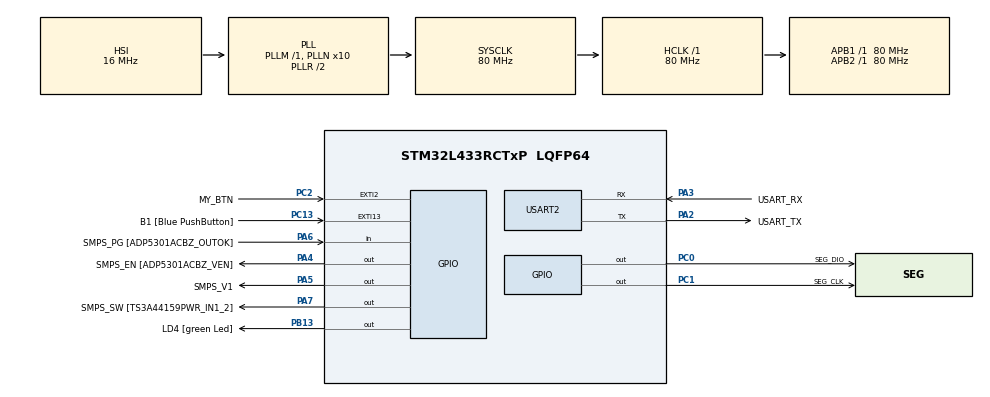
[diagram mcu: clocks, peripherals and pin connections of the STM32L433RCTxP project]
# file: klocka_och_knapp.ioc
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Mcu.Family=STM32L4
Mcu.Name=STM32L433RCTxP
Mcu.Package=LQFP64
NVIC.EXTI2_IRQn=true\:0\:0\:false\:false\:true\:true\:true\:true
NVIC.PriorityGroup=NVIC_PRIORITYGROUP_4
NVIC.TIM7_IRQn=true\:0\:0\:false\:false\:true\:true\:true\:true
PA13\ (JTMS-SWDIO).GPIO_Label=TMS
PA13\ (JTMS-SWDIO).Mode=Serial_Wire
PA13\ (JTMS-SWDIO).Signal=SYS_JTMS-SWDIO
PA14\ (JTCK-SWCLK).GPIO_Label=TCK
PA14\ (JTCK-SWCLK).Mode=Serial_Wire
PA14\ (JTCK-SWCLK).Signal=SYS_JTCK-SWCLK
PA2.GPIO_Label=USART_TX
PA2.GPIO_Mode=GPIO_MODE_AF_PP
PA2.GPIO_PuPd=GPIO_NOPULL
PA2.GPIO_Speed=GPIO_SPEED_FREQ_VERY_HIGH
PA2.Mode=Asynchronous
PA2.Signal=USART2_TX
PA3.GPIO_Label=USART_RX
PA3.GPIO_Mode=GPIO_MODE_AF_PP
PA3.GPIO_PuPd=GPIO_NOPULL
PA3.GPIO_Speed=GPIO_SPEED_FREQ_VERY_HIGH
PA3.Mode=Asynchronous
PA3.Signal=USART2_RX
PA4.GPIO_Label=SMPS_EN [ADP5301ACBZ_VEN]
PA4.Signal=GPIO_Output
PA5.GPIO_Label=SMPS_V1
PA5.GPIO_ModeDefaultOutputPP=GPIO_MODE_OUTPUT_PP
PA5.GPIO_PuPd=GPIO_NOPULL
PA5.GPIO_Speed=GPIO_SPEED_FREQ_LOW
PA5.Signal=GPIO_Output
PA6.GPIO_Label=SMPS_PG [ADP5301ACBZ_OUTOK]
PA6.GPIO_PuPd=GPIO_PULLUP
PA6.Signal=GPIO_Input
PA7.GPIO_Label=SMPS_SW [TS3A44159PWR_IN1_2]
PA7.Signal=GPIO_Output
PB13.GPIO_Label=LD4 [green Led]
PB13.Signal=GPIO_Output
PB3\ (JTDO-TRACESWO).GPIO_Label=SWO
PB3\ (JTDO-TRACESWO).Signal=SYS_JTDO-SWO
PC0.GPIO_Label=SEG_DIO
PC0.GPIO_ModeDefaultOutputPP=GPIO_MODE_OUTPUT_OD
PC0.GPIO_PuPd=GPIO_NOPULL
PC0.Signal=GPIO_Output
PC1.GPIO_Label=SEG_CLK
PC1.Signal=GPIO_Output
PC13.GPIO_Label=B1 [Blue PushButton]
PC13.GPIO_ModeDefaultEXTI=GPIO_MODE_IT_FALLING
PC13.GPIO_PuPd=GPIO_NOPULL
PC13.Signal=GPXTI13
PC14-OSC32_IN\ (PC14).Mode=LSE-External-Oscillator
PC14-OSC32_IN\ (PC14).Signal=RCC_OSC32_IN
PC15-OSC32_OUT\ (PC15).Mode=LSE-External-Oscillator
PC15-OSC32_OUT\ (PC15).Signal=RCC_OSC32_OUT
PC2.GPIO_Label=MY_BTN
PC2.GPIO_ModeDefaultEXTI=GPIO_MODE_IT_FALLING
PC2.Signal=GPXTI2
PH0-OSC_IN\ (PH0).GPIO_Label=MCO
PH0-OSC_IN\ (PH0).Mode=HSE-External-Clock-Source
PH0-OSC_IN\ (PH0).Signal=RCC_OSC_IN
PH1-OSC_OUT\ (PH1).Signal=RCC_OSC_OUT
ProjectManager.HeapSize=0x200
ProjectManager.StackSize=0x400
ProjectManager.TargetToolchain=STM32CubeIDE
RCC.ADCFreq_Value=64000000
RCC.AHBFreq_Value=80000000
RCC.APB1Freq_Value=80000000
RCC.APB1TimFreq_Value=80000000
RCC.APB2Freq_Value=80000000
RCC.APB2TimFreq_Value=80000000
RCC.CortexFreq_Value=80000000
RCC.HCLKFreq_Value=80000000
RCC.HSE_VALUE=8000000
RCC.HSI48_VALUE=48000000
RCC.HSI_VALUE=16000000
RCC.MSI_VALUE=4000000
RCC.PLLN=10
RCC.PLLSourceVirtual=RCC_PLLSOURCE_HSI
RCC.PREFETCH_ENABLE=1
RCC.SYSCLKFreq_VALUE=80000000
RCC.SYSCLKSource=RCC_SYSCLKSOURCE_PLLCLK
RCC.USBFreq_Value=64000000
RCC.VCOOutputFreq_Value=160000000
TIM7.Period=999
TIM7.Prescaler=39999
USART2.VirtualMode-Asynchronous=VM_ASYNC
VP_TIM7_VS_ClockSourceINT.Mode=Enable_Timer
board=NUCLEO-L433RC-P

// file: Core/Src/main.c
/* USER CODE BEGIN Header */
/**
  ******************************************************************************
  * @file           : main.c
  * @brief          : Main program body
  ******************************************************************************
  * @attention
  *
  * Copyright (c) 2026 STMicroelectronics.
  * All rights reserved.
  *
  * This software is licensed under terms that can be found in the LICENSE file
  * in the root directory of this software component.
  * If no LICENSE file comes with this software, it is provided AS-IS.
  *
  ******************************************************************************
  */
/* USER CODE END Header */
#include "main.h"

/* USER CODE BEGIN Includes */
#include "quad_sseg.h"
#include <string.h>
#include <stdio.h>

/* USER CODE END Includes */

/* USER CODE BEGIN PD */

#define BOUNCE_DELAY_MS 12

/* USER CODE END PD */

TIM_HandleTypeDef htim7;

UART_HandleTypeDef huart2;

/* USER CODE BEGIN PV */

uint16_t button_exti_count;
uint16_t button_debounced_count;
uint32_t last_flank_causing_exti;

uint8_t hours;
uint8_t minutes;
uint8_t seconds;
uint8_t half_second;

/* USER CODE END PV */

void SystemClock_Config(void);
static void MX_GPIO_Init(void);
static void MX_USART2_UART_Init(void);
static void MX_TIM7_Init(void);

/* USER CODE BEGIN 0 */

void uart_print_menu()
{
	char menu[] =
			"\r\n--- MENU ---\r\n"
			"1. Clock mode\r\n"
			"2. Button mode\r\n"
			"Choose: ";

	HAL_UART_Transmit(&huart2, (uint8_t *)menu, strlen(menu), HAL_MAX_DELAY);

}

int uart_get_menu_choice()
{
	char str[1] = {'\0'};
	uint16_t str_len = 1;

	HAL_UART_Receive(&huart2, (uint8_t *)str, str_len, HAL_MAX_DELAY);

	int ret = -1;
	sscanf(str, "%d", &ret);

	return ret;
}

void uart_print_bad_choice()
{
	char msg[] = "\r\nInvalid choice. Try again.\r\n";

	HAL_UART_Transmit(&huart2, (uint8_t *)msg, strlen(msg), HAL_MAX_DELAY);
}

void clock_mode()
{
	int b1_pressed;
	hours = 23;
	minutes = 59;
	seconds = 45;
	HAL_TIM_Base_Start_IT(&htim7);

	while (1)
	{
		b1_pressed = GPIO_PIN_SET
				== HAL_GPIO_ReadPin(B1_GPIO_Port, B1_Pin);

		if (b1_pressed)
		{
			qs_put_digits(hours / 10, hours % 10,
					      minutes / 10, minutes % 10,
						  half_second);
		}
		else
		{
			qs_put_digits(minutes / 10, minutes % 10,
					      seconds / 10, seconds % 10,
						  half_second);
		}

	}
}

void button_mode()
{
	int b1_pressed;
	uint32_t last_managed_exti = 0;
	uint32_t now;

	while(1)
	{
		now = HAL_GetTick();
		if ((now - last_flank_causing_exti) >= BOUNCE_DELAY_MS
				&& last_flank_causing_exti != last_managed_exti)
		{
			int pressed = GPIO_PIN_RESET
					== HAL_GPIO_ReadPin(MY_BTN_GPIO_Port, MY_BTN_Pin);

			if (pressed)
			{
				button_debounced_count++;
			}

			last_managed_exti = last_flank_causing_exti;
		}

		b1_pressed = GPIO_PIN_SET
				== HAL_GPIO_ReadPin(B1_GPIO_Port, B1_Pin);

		qs_put_big_num(b1_pressed ? button_exti_count
				                  : button_debounced_count);

	}
}

/* USER CODE END 0 */

int main(void)
{

  /* MCU Configuration--------------------------------------------------------*/

  /* Reset of all peripherals, Initializes the Flash interface and the Systick. */
  HAL_Init();

  /* Configure the system clock */
  SystemClock_Config();

  /* Initialize all configured peripherals */
  MX_GPIO_Init();
  MX_USART2_UART_Init();
  MX_TIM7_Init();

  /* Infinite loop */
  while (1)
  {

    /* USER CODE BEGIN 3 */

	  uart_print_menu();
	  int menu_choice = uart_get_menu_choice();

	  switch(menu_choice)
	  {
	      case 1:
	    	  clock_mode();
	    	  break;

	      case 2:
	    	  button_mode();
			  break;

	      default:
	    	  uart_print_bad_choice();
	    	  break;
	  }
  }
  /* USER CODE END 3 */
}

void SystemClock_Config(void)
{
  RCC_OscInitTypeDef RCC_OscInitStruct = {0};
  RCC_ClkInitTypeDef RCC_ClkInitStruct = {0};

  /** Configure the main internal regulator output voltage
  */
  if (HAL_PWREx_ControlVoltageScaling(PWR_REGULATOR_VOLTAGE_SCALE1) != HAL_OK)
  {
    Error_Handler();
  }

  /** Initializes the RCC Oscillators according to the specified parameters
  * in the RCC_OscInitTypeDef structure.
  */
  RCC_OscInitStruct.OscillatorType = RCC_OSCILLATORTYPE_HSI;
  RCC_OscInitStruct.HSIState = RCC_HSI_ON;
  RCC_OscInitStruct.HSICalibrationValue = RCC_HSICALIBRATION_DEFAULT;
  RCC_OscInitStruct.PLL.PLLState = RCC_PLL_ON;
  RCC_OscInitStruct.PLL.PLLSource = RCC_PLLSOURCE_HSI;
  RCC_OscInitStruct.PLL.PLLM = 1;
  RCC_OscInitStruct.PLL.PLLN = 10;
  RCC_OscInitStruct.PLL.PLLP = RCC_PLLP_DIV7;
  RCC_OscInitStruct.PLL.PLLQ = RCC_PLLQ_DIV2;
  RCC_OscInitStruct.PLL.PLLR = RCC_PLLR_DIV2;
  if (HAL_RCC_OscConfig(&RCC_OscInitStruct) != HAL_OK)
  {
    Error_Handler();
  }

  /** Initializes the CPU, AHB and APB buses clocks
  */
  RCC_ClkInitStruct.ClockType = RCC_CLOCKTYPE_HCLK|RCC_CLOCKTYPE_SYSCLK
                              |RCC_CLOCKTYPE_PCLK1|RCC_CLOCKTYPE_PCLK2;
  RCC_ClkInitStruct.SYSCLKSource = RCC_SYSCLKSOURCE_PLLCLK;
  RCC_ClkInitStruct.AHBCLKDivider = RCC_SYSCLK_DIV1;
  RCC_ClkInitStruct.APB1CLKDivider = RCC_HCLK_DIV1;
  RCC_ClkInitStruct.APB2CLKDivider = RCC_HCLK_DIV1;

  if (HAL_RCC_ClockConfig(&RCC_ClkInitStruct, FLASH_LATENCY_4) != HAL_OK)
  {
    Error_Handler();
  }
}

static void MX_TIM7_Init(void)
{

  TIM_MasterConfigTypeDef sMasterConfig = {0};

  htim7.Instance = TIM7;
  htim7.Init.Prescaler = 39999;
  htim7.Init.CounterMode = TIM_COUNTERMODE_UP;
  htim7.Init.Period = 999;
  htim7.Init.AutoReloadPreload = TIM_AUTORELOAD_PRELOAD_DISABLE;
  if (HAL_TIM_Base_Init(&htim7) != HAL_OK)
  {
    Error_Handler();
  }
  sMasterConfig.MasterOutputTrigger = TIM_TRGO_RESET;
  sMasterConfig.MasterSlaveMode = TIM_MASTERSLAVEMODE_DISABLE;
  if (HAL_TIMEx_MasterConfigSynchronization(&htim7, &sMasterConfig) != HAL_OK)
  {
    Error_Handler();
  }

}

static void MX_USART2_UART_Init(void)
{

  huart2.Instance = USART2;
  huart2.Init.BaudRate = 115200;
  huart2.Init.WordLength = UART_WORDLENGTH_8B;
  huart2.Init.StopBits = UART_STOPBITS_1;
  huart2.Init.Parity = UART_PARITY_NONE;
  huart2.Init.Mode = UART_MODE_TX_RX;
  huart2.Init.HwFlowCtl = UART_HWCONTROL_NONE;
  huart2.Init.OverSampling = UART_OVERSAMPLING_16;
  huart2.Init.OneBitSampling = UART_ONE_BIT_SAMPLE_DISABLE;
  huart2.AdvancedInit.AdvFeatureInit = UART_ADVFEATURE_NO_INIT;
  if (HAL_UART_Init(&huart2) != HAL_OK)
  {
    Error_Handler();
  }

}

static void MX_GPIO_Init(void)
{
  GPIO_InitTypeDef GPIO_InitStruct = {0};

  /* GPIO Ports Clock Enable */
  __HAL_RCC_GPIOC_CLK_ENABLE();
  __HAL_RCC_GPIOH_CLK_ENABLE();
  __HAL_RCC_GPIOA_CLK_ENABLE();
  __HAL_RCC_GPIOB_CLK_ENABLE();

  /*Configure GPIO pin Output Level */
  HAL_GPIO_WritePin(GPIOC, SEG_DIO_Pin|SEG_CLK_Pin, GPIO_PIN_RESET);

  /*Configure GPIO pin Output Level */
  HAL_GPIO_WritePin(GPIOA, SMPS_EN_Pin|SMPS_V1_Pin|SMPS_SW_Pin, GPIO_PIN_RESET);

  /*Configure GPIO pin Output Level */
  HAL_GPIO_WritePin(LD4_GPIO_Port, LD4_Pin, GPIO_PIN_RESET);

  /*Configure GPIO pins : B1_Pin MY_BTN_Pin */
  GPIO_InitStruct.Pin = B1_Pin|MY_BTN_Pin;
  GPIO_InitStruct.Mode = GPIO_MODE_IT_FALLING;
  GPIO_InitStruct.Pull = GPIO_NOPULL;
  HAL_GPIO_Init(GPIOC, &GPIO_InitStruct);

  /*Configure GPIO pin : SEG_DIO_Pin */
  GPIO_InitStruct.Pin = SEG_DIO_Pin;
  GPIO_InitStruct.Mode = GPIO_MODE_OUTPUT_OD;
  GPIO_InitStruct.Pull = GPIO_NOPULL;
  GPIO_InitStruct.Speed = GPIO_SPEED_FREQ_LOW;
  HAL_GPIO_Init(SEG_DIO_GPIO_Port, &GPIO_InitStruct);

  /*Configure GPIO pin : SEG_CLK_Pin */
  GPIO_InitStruct.Pin = SEG_CLK_Pin;
  GPIO_InitStruct.Mode = GPIO_MODE_OUTPUT_PP;
  GPIO_InitStruct.Pull = GPIO_NOPULL;
  GPIO_InitStruct.Speed = GPIO_SPEED_FREQ_LOW;
  HAL_GPIO_Init(SEG_CLK_GPIO_Port, &GPIO_InitStruct);

  /*Configure GPIO pins : SMPS_EN_Pin SMPS_V1_Pin SMPS_SW_Pin */
  GPIO_InitStruct.Pin = SMPS_EN_Pin|SMPS_V1_Pin|SMPS_SW_Pin;
  GPIO_InitStruct.Mode = GPIO_MODE_OUTPUT_PP;
  GPIO_InitStruct.Pull = GPIO_NOPULL;
  GPIO_InitStruct.Speed = GPIO_SPEED_FREQ_LOW;
  HAL_GPIO_Init(GPIOA, &GPIO_InitStruct);

  /*Configure GPIO pin : SMPS_PG_Pin */
  GPIO_InitStruct.Pin = SMPS_PG_Pin;
  GPIO_InitStruct.Mode = GPIO_MODE_INPUT;
  GPIO_InitStruct.Pull = GPIO_PULLUP;
  HAL_GPIO_Init(SMPS_PG_GPIO_Port, &GPIO_InitStruct);

  /*Configure GPIO pin : LD4_Pin */
  GPIO_InitStruct.Pin = LD4_Pin;
  GPIO_InitStruct.Mode = GPIO_MODE_OUTPUT_PP;
  GPIO_InitStruct.Pull = GPIO_NOPULL;
  GPIO_InitStruct.Speed = GPIO_SPEED_FREQ_LOW;
  HAL_GPIO_Init(LD4_GPIO_Port, &GPIO_InitStruct);

  /* EXTI interrupt init*/
  HAL_NVIC_SetPriority(EXTI2_IRQn, 0, 0);
  HAL_NVIC_EnableIRQ(EXTI2_IRQn);

}

/* USER CODE BEGIN 4 */

void HAL_GPIO_EXTI_Callback(uint16_t GPIO_Pin)
{
	if(GPIO_Pin == MY_BTN_Pin)
	{
		button_exti_count++;
		last_flank_causing_exti = HAL_GetTick();
	}
}

void HAL_TIM_PeriodElapsedCallback(TIM_HandleTypeDef *htim)
{
	if (htim->Instance == TIM7)
	{
		half_second++;

		if (half_second >= 2)
		{
			half_second = 0;
			seconds++;

			if (seconds >= 60)
			{
				seconds = 0;
				minutes++;
			}

			if (minutes >= 60)
			{
				minutes = 0;
				hours++;
			}

			if (hours >= 24)
			{
				hours = 0;
			}
		}

	}
}

/* USER CODE END 4 */

void Error_Handler(void)
{
  __disable_irq();
  while (1)
  {
  }
}
